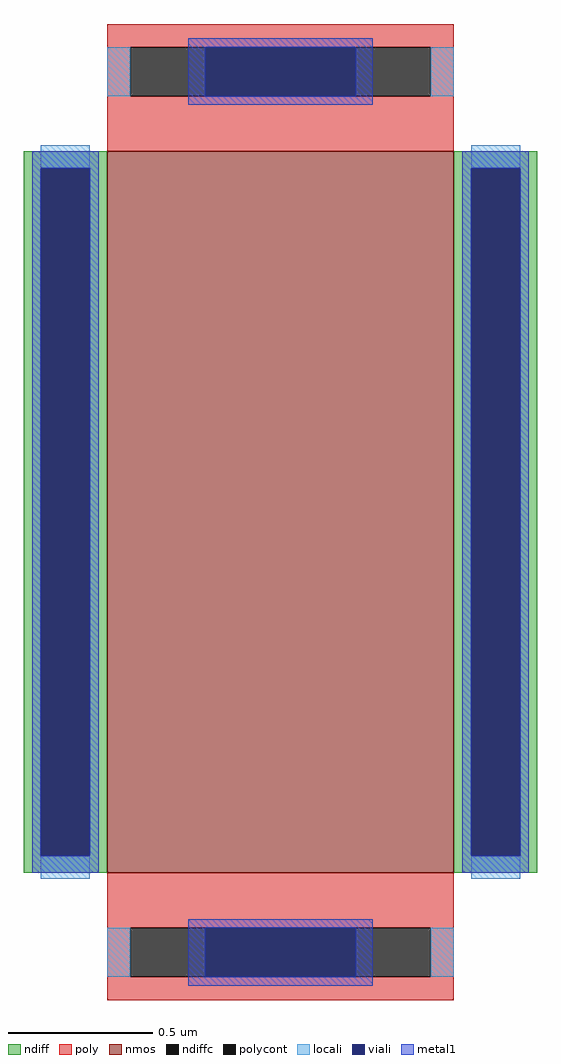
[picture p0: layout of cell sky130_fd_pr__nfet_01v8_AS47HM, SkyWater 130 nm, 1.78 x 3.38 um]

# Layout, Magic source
magic
tech sky130A
<< nmos >>
rect -60 -125 60 125
<< ndiff >>
rect -89 119 -60 125
rect -89 -119 -83 119
rect -66 -119 -60 119
rect -89 -125 -60 -119
rect 60 119 89 125
rect 60 -119 66 119
rect 83 -119 89 119
rect 60 -125 89 -119
<< ndiffc >>
rect -83 -119 -66 119
rect 66 -119 83 119
<< poly >>
rect -60 161 60 169
rect -60 144 -52 161
rect 52 144 60 161
rect -60 125 60 144
rect -60 -144 60 -125
rect -60 -161 -52 -144
rect 52 -161 60 -144
rect -60 -169 60 -161
<< polycont >>
rect -52 144 52 161
rect -52 -161 52 -144
<< locali >>
rect -60 144 -52 161
rect 52 144 60 161
rect -83 119 -66 127
rect -83 -127 -66 -119
rect 66 119 83 127
rect 66 -127 83 -119
rect -60 -161 -52 -144
rect 52 -161 60 -144
<< viali >>
rect -26 144 26 161
rect -83 -119 -66 119
rect 66 -119 83 119
rect -26 -161 26 -144
<< metal1 >>
rect -32 161 32 164
rect -32 144 -26 161
rect 26 144 32 161
rect -32 141 32 144
rect -86 119 -63 125
rect -86 -119 -83 119
rect -66 -119 -63 119
rect -86 -125 -63 -119
rect 63 119 86 125
rect 63 -119 66 119
rect 83 -119 86 119
rect 63 -125 86 -119
rect -32 -144 32 -141
rect -32 -161 -26 -144
rect 26 -161 32 -144
rect -32 -164 32 -161
<< properties >>
string gencell sky130_fd_pr__nfet_01v8
string library sky130
string parameters w 2.5 l 1.2 m 1 nf 1 diffcov 100 polycov 100 guard 0 glc 1 grc 1 gtc 1 gbc 1 tbcov 100 rlcov 100 topc 1 botc 1 poverlap 0 doverlap 1 lmin 0.15 wmin 0.42 compatible {sky130_fd_pr__nfet_01v8 sky130_fd_pr__nfet_01v8_lvt  sky130_fd_bs_flash__special_sonosfet_star  sky130_fd_pr__nfet_g5v0d10v5 sky130_fd_pr__nfet_05v0_nvt  sky130_fd_pr__nfet_03v3_nvt} full_metal 1 viasrc 100 viadrn 100 viagate 50 viagb 0 viagr 0 viagl 0 viagt 0
<< end >>
